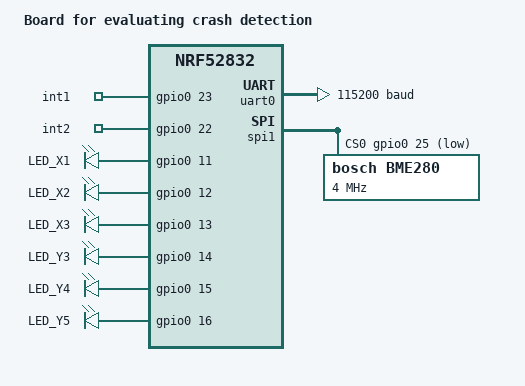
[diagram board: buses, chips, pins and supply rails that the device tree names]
/dts-v1/;
#include <nordic/nrf52832_qfaa.dtsi>
#include "Crash_nRF52-pinctrl.dtsi"

/ {
	model = "Board for evaluating crash detection";
	compatible = "Thule,Crash-nRF52";

	chosen {
		zephyr,sram = &sram0;
		zephyr,flash = &flash0;
		zephyr,code-partition = &slot0_partition;
	};

	digin
	{
		compatible = "gpio-keys";
		digin1: digin_1 {
			gpios = <&gpio0 23 GPIO_PULL_DOWN>;
			label = "int1";
		};
		digin2: digin_2 {
			gpios = <&gpio0 22 GPIO_PULL_DOWN>;
			label = "int2";
		};
	};
	leds 
	{
		compatible = "gpio-leds";
		led0: led_0 {
			gpios = <&gpio0 11 GPIO_ACTIVE_HIGH>;
			label = "LED_X1";
		};
		led1: led_1 {
			gpios = <&gpio0 12 GPIO_ACTIVE_HIGH>;
			label = "LED_X2";
		};
		led2: led_2 {
			gpios = <&gpio0 13 GPIO_ACTIVE_HIGH>;
			label = "LED_X3";
		};
		led3: led_3 {
			gpios = <&gpio0 14 GPIO_ACTIVE_HIGH>;
			label = "LED_Y3";
		};
		led4: led_4 {
			gpios = <&gpio0 15 GPIO_ACTIVE_HIGH>;
			label = "LED_Y4";
		};
		led5: led_5 {
			gpios = <&gpio0 16 GPIO_ACTIVE_HIGH>;
			label = "LED_Y5";
		};
	};
	aliases 
	{
		led0 = &led0;
		led1 = &led1;
		led2 = &led2;
		led3 = &led3;
		led4 = &led4;
		led5 = &led5;
		digin1 = &digin1;
		digin2 = &digin2;
	};

};

&uart0 {
	status = "okay";
	pinctrl-0 = <&uart0_default>;
    pinctrl-1 = <&uart0_sleep>;
	pinctrl-names = "default" , "sleep";
	current-speed = <115200>;
};

&spi1 {
	status = "okay";
	compatible = "nordic,nrf-spi";
	pinctrl-0 = <&spi1_default>;
	pinctrl-1 = <&spi1_sleep>;
	pinctrl-names = "default" , "sleep";
	cs-gpios = <&gpio0 25 GPIO_ACTIVE_LOW>;
	bme280: bme280@0 
	{
		compatible = "bosch,bme280";
		reg = <0>;
		spi-max-frequency = <4000000>; 	
	};
};

&gpiote0 {
	status = "okay";
};


&gpio0 {
	status = "okay";
};

&flash0 {
	partitions {
		compatible = "fixed-partitions";
		#address-cells = <1>;
		#size-cells = <1>;

		boot_partition: partition@0 {
			label = "mcuboot";
			reg = <0x00000000 DT_SIZE_K(48)>;
		};

		slot0_partition: partition@c000 {
			label = "image-0";
			reg = <0x0000c000 DT_SIZE_K(220)>;
		};

		slot1_partition: partition@43000 {
			label = "image-1";
			reg = <0x00043000 DT_SIZE_K(220)>;
		};

		storage_partition: partition@7a000 {
			label = "storage";
			reg = <0x0007a000 DT_SIZE_K(24)>;
		};
	};
};
